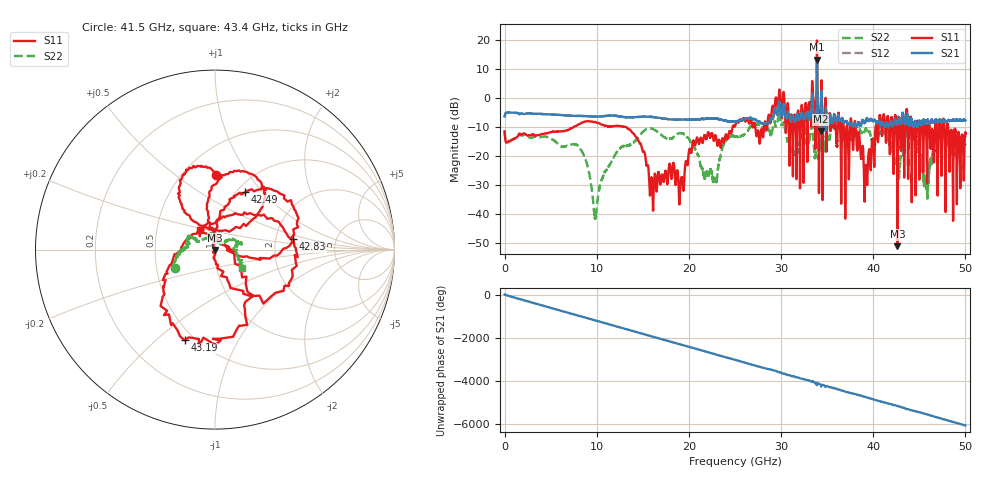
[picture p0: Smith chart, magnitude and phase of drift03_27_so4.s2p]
!Created with skrf (http://scikit-rf.org).
# Hz S RI R 50.0
!freq ReS11 ImS11 ReS21 ImS21 ReS12 ImS12 ReS22 ImS22
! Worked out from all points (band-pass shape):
!   10001 points, 300 kHz to 50 GHz, reference 50 ohm
!   highest |S21| = 13.08 dB at 33.9 GHz (marker M1); lowest = -11.5 dB at 34.32 GHz (marker M2)
!   |S21| within 3 dB of the highest: 33.89024 GHz to 33.90504 GHz (14.79 MHz wide, 0.0436 % of centre)
!   lowest |S11| = -51.0 dB at 42.63 GHz (marker M3), VSWR 1.01, Z = 50.1 - j0.274 ohm
!   |S11| at or under -10 dB: start of sweep to 7.488 GHz; 13.13 GHz to 24.74 GHz (11.61 GHz wide, 61.3 % of centre); 38.09 GHz to 40.26 GHz (2.167 GHz wide, 5.53 % of centre) (the widest 3 of 48)
!   |S22| runs from -41.5 to 5.5 dB; largest |S21 - S12| = 0.34
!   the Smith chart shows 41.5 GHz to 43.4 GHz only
!   S11 on the Smith chart (normalised r, x): 41.5 GHz: 0.71, +0.71; 42.49 GHz: 1.10, +0.80; 42.83 GHz: 2.51, +0.36; 43.19 GHz: 0.44, -0.62; 43.4 GHz: 0.83, +0.18
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300000  -0.2366 -0.1217  0.468 0.0793  0.4649 0.0797  -0.235 -0.1247
1.440291e9  0.21 0.0644  -0.548 -0.0291  -0.5481 -0.0292  0.2114 -0.00424
2.915283e9  -0.212 -0.0881  0.5341 0.0512  0.5342 0.0514  -0.2022 0.0403
4.415274e9  0.2064 0.1322  -0.522 -0.0422  -0.5217 -0.0418  0.1977 -0.087
8.33525e9  0.2882 -0.2338  0.147 0.4656  0.1463 0.466  -0.0729 -0.1009
9.850241e9  -0.3622 0.1319  -0.1534 -0.4506  -0.1533 -0.4504  0.00859 0.00205
1.66702e10  0.0273 0.044  -0.3767 0.2541  -0.3777 0.2541  -0.1271 -0.2192
2.500015e10  -0.3262 -0.015  -0.2556 -0.2959  -0.2539 -0.2981  -0.2133 0.0276
2.895513e10  -0.3262 0.4319  -0.2878 0.3265  -0.2971 0.2908  0.0656 0.2212
3.006512e10  0.3989 0.2638  0.4494 -0.1979  0.4517 -0.1829  0.1722 -0.2984
3.171011e10  -0.0894 0.1889  -0.3586 0.3563  -0.36 0.3551  0.0657 0.1591
3.33351e10  0.6251 -0.8007  0.2534 -0.8393  0.2548 -0.8169  -0.1861 -0.4194
3.38951e10  -2.456 -9.36  -4.434 0.8042  -4.143 0.9823  0.5046 1.813
3.432009e10  -0.7794 0.00199  -0.179 0.1967  -0.2414 0.1771  0.1425 -0.0709
4.149505e10  0.00306 0.4174  0.3335 0.1429  0.3373 0.143  -0.2232 -0.1012
4.167005e10  -0.1963 0.3021  0.3142 0.00458  0.3149 0.0111  -0.1949 -0.00709
4.248505e10  0.1688 0.3188  0.0108 -0.3496  0.0125 -0.3518  -0.0285 0.0688
4.263004e10  0.000728 -0.00274  -0.1696 -0.3407  -0.1638 -0.3439  -0.0225 0.0894
4.283004e10  0.4363 0.0577  -0.2586 -0.3219  -0.2536 -0.3251  0.035 0.0378
4.318504e10  -0.1693 -0.5051  -0.5294 0.0742  -0.5353 0.0684  0.135 0.0444
4.339504e10  -0.0827 0.109  -0.3286 0.1766  -0.3279 0.174  0.1501 -0.1042
5e10  -0.123 -0.2143  0.145 0.3847  0.1448 0.383  -0.0547 -0.1441
